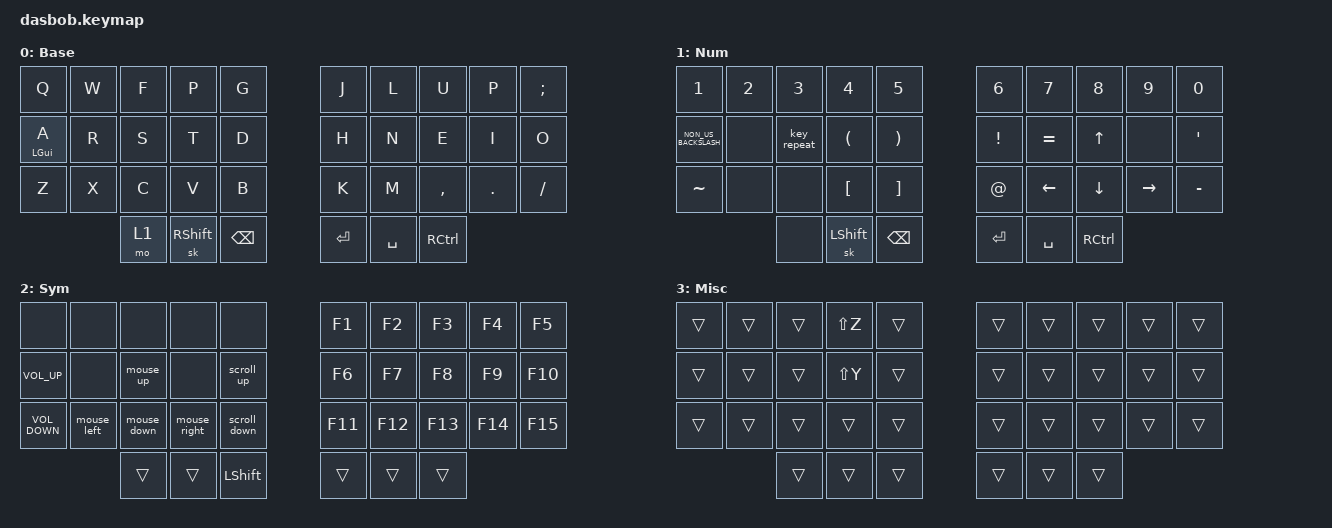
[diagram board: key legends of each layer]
#include <behaviors.dtsi>
#include <dt-bindings/zmk/keys.h>

/ {
    behaviors {
        hm: homerow_mods {
            compatible = "zmk,behavior-hold-tap";
            label = "HOMEROW_MODS";
            bindings = <&kp>, <&kp>;

            #binding-cells = <2>;
            tapping-term-ms = <200>;
            quick-tap-ms = <0>;
            flavor = "tap-preferred";
        };
    };

    macros {
        mouse_up: mouse_up {
            compatible = "zmk,behavior-macro";
            #binding-cells = <0>;
            bindings =
                <&macro_press>,
                <&kp LEFT_CONTROL &kp LEFT_ALT>,
                <&macro_tap>,
                <&kp W>,
                <&macro_release>,
                <&kp RIGHT_CONTROL &kp LEFT_ALT>;

            label = "MOUSE_UP";
        };

        mouse_down: mouse_down {
            compatible = "zmk,behavior-macro";
            #binding-cells = <0>;
            bindings =
                <&macro_press>,
                <&kp LEFT_CONTROL &kp LEFT_ALT>,
                <&macro_tap>,
                <&kp S>,
                <&macro_release>,
                <&kp RIGHT_CONTROL &kp LEFT_ALT>;

            label = "MOUSE_DOWN";
        };

        mouse_left: mouse_left {
            compatible = "zmk,behavior-macro";
            #binding-cells = <0>;
            bindings =
                <&macro_press>,
                <&kp LEFT_CONTROL &kp LEFT_ALT>,
                <&macro_tap>,
                <&kp A>,
                <&macro_release>,
                <&kp RIGHT_CONTROL &kp LEFT_ALT>;

            label = "MOUSE_LEFT";
        };

        mouse_right: mouse_right {
            compatible = "zmk,behavior-macro";
            #binding-cells = <0>;
            bindings =
                <&macro_press>,
                <&kp LEFT_CONTROL &kp LEFT_ALT>,
                <&macro_tap>,
                <&kp D>,
                <&macro_release>,
                <&kp RIGHT_CONTROL &kp LEFT_ALT>;

            label = "MOUSE_RIGHT";
        };

        scroll_up: scroll_up {
            compatible = "zmk,behavior-macro";
            #binding-cells = <0>;
            bindings =
                <&macro_press>,
                <&kp LEFT_CONTROL &kp LEFT_ALT>,
                <&macro_tap>,
                <&kp SEMI>,
                <&macro_release>,
                <&kp RIGHT_CONTROL &kp LEFT_ALT>;

            label = "SCROLL_UP";
        };

        scroll_down: scroll_down {
            compatible = "zmk,behavior-macro";
            #binding-cells = <0>;
            bindings =
                <&macro_press>,
                <&kp LEFT_CONTROL &kp LEFT_ALT>,
                <&macro_tap>,
                <&kp SLASH>,
                <&macro_release>,
                <&kp RIGHT_CONTROL &kp LEFT_ALT>;

            label = "SCROLL_DOWN";
        };

        ctrl_bksp: ctrl_bksp {
            compatible = "zmk,behavior-macro";
            #binding-cells = <0>;
            bindings =
                <&macro_press>,
                <&kp LEFT_CONTROL>,
                <&macro_tap>,
                <&kp BACKSPACE>,
                <&macro_release>,
                <&kp RIGHT_CONTROL>;

            label = "CTRL_BKSP";
        };
    };

    combos {
        compatible = "zmk,combos";

        esc {
            bindings = <&kp ESCAPE>;
            key-positions = <0 1>;
        };

        tab {
            bindings = <&kp TAB>;
            key-positions = <10 11>;
        };

        ctl_bksp {
            bindings = <&ctrl_bksp>;
            key-positions = <3 2>;
        };

        layer-zero {
            bindings = <&to 0>;
            key-positions = <20 21>;
        };

        layer-2 {
            bindings = <&mo 2>;
            key-positions = <25 26>;
        };

        control {
            bindings = <&kp LEFT_CONTROL>;
            key-positions = <23 24>;
        };

        Del {
            bindings = <&kp DELETE>;
            key-positions = <1 2 3>;
        };
    };

    keymap {
        compatible = "zmk,keymap";

        // This is a sample keymap intended to be replaced with your own

        Base {
            bindings = <
&kp Q           &kp W  &kp F  &kp P            &kp G          &kp J      &kp L      &kp U              &kp P    &kp SEMI
&mt LEFT_GUI A  &kp R  &kp S  &kp T            &kp D          &kp H      &kp N      &kp E              &kp I    &kp O
&kp Z           &kp X  &kp C  &kp V            &kp B          &kp K      &kp M      &kp COMMA          &kp DOT  &kp SLASH
                       &mo 1  &sk RIGHT_SHIFT  &kp BACKSPACE  &kp ENTER  &kp SPACE  &kp RIGHT_CONTROL
            >;
        };

        Num {
            bindings = <
&kp NUMBER_1          &kp NUMBER_2  &kp NUMBER_3  &kp NUMBER_4          &kp N5                 &kp NUMBER_6     &kp N7     &kp N8             &kp N9     &kp N0
&kp NON_US_BACKSLASH  &none         &key_repeat   &kp LEFT_PARENTHESIS  &kp RIGHT_PARENTHESIS  &kp EXCLAMATION  &kp EQUAL  &kp UP_ARROW       &none      &kp SINGLE_QUOTE
&kp TILDE             &none         &none         &kp LEFT_BRACKET      &kp RIGHT_BRACKET      &kp AT_SIGN      &kp LEFT   &kp DOWN_ARROW     &kp RIGHT  &kp MINUS
                                    &none         &sk LEFT_SHIFT        &kp BACKSPACE          &kp ENTER        &kp SPACE  &kp RIGHT_CONTROL
            >;
        };

        Sym {
            bindings = <
&none              &none        &none        &none         &none         &kp F1   &kp F2   &kp F3   &kp F4   &kp F5
&kp K_VOLUME_UP    &none        &mouse_up    &none         &scroll_up    &kp F6   &kp F7   &kp F8   &kp F9   &kp F10
&kp K_VOLUME_DOWN  &mouse_left  &mouse_down  &mouse_right  &scroll_down  &kp F11  &kp F12  &kp F13  &kp F14  &kp F15
                                &trans       &trans        &kp LSHFT     &trans   &trans   &trans
            >;
        };

        Misc {
            bindings = <
&trans  &trans  &trans  &kp LS(Z)  &trans  &trans  &trans  &trans  &trans  &trans
&trans  &trans  &trans  &kp LS(Y)  &trans  &trans  &trans  &trans  &trans  &trans
&trans  &trans  &trans  &trans     &trans  &trans  &trans  &trans  &trans  &trans
                &trans  &trans     &trans  &trans  &trans  &trans
            >;
        };
    };
};
